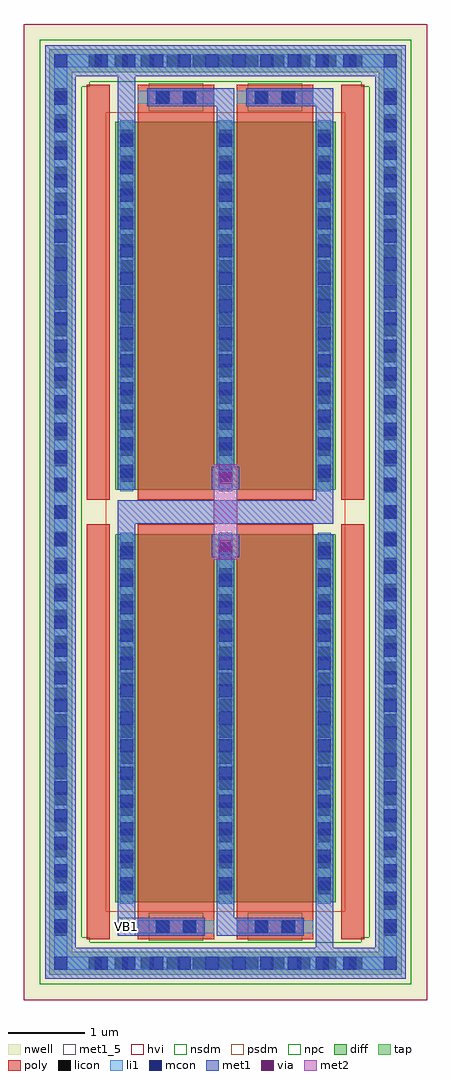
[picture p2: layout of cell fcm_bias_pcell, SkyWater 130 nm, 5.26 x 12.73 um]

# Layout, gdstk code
from math import pi, radians
import gdstk
lib = gdstk.Library(unit=1e-6, precision=1e-09)
def R(c, l, rs):  # rectangles x0, y0, x1, y1
    for r in rs: c.add(gdstk.rectangle(r[:2], r[2:], *l))
def A(c, l, x, y, w, h, nx, ny, dx, dy):  # array of equal rectangles
    R(c, l, [(x+i*dx, y+j*dy, x+i*dx+w, y+j*dy+h) for i in range(nx) for j in range(ny)])
nwell = (64, 20)
diff = (65, 20)
tap = (65, 44)
poly = (66, 20)
licon = (66, 44)
li1 = (67, 20)
mcon = (67, 44)
met1_5 = (68, 5)
met1 = (68, 20)
via = (68, 44)
met2 = (69, 20)
hvi = (75, 20)
nsdm = (93, 44)
psdm = (94, 20)
npc = (95, 20)

sky130_fd_pr__pfet_g5v0d = lib.new_cell('sky130_fd_pr__pfet_g5v0d10v5_XEEY48')
R(sky130_fd_pr__pfet_g5v0d, nwell, [(-1.615,-2.89,1.615,2.72)])
R(sky130_fd_pr__pfet_g5v0d, diff, [(-1.435,-2.58,1.435,2.22)])
R(sky130_fd_pr__pfet_g5v0d, poly, [(-1.145,-2.71,-0.145,2.705), (0.145,-2.71,1.145,2.705)])
A(sky130_fd_pr__pfet_g5v0d, licon, -1.375, -2.475, 0.17, 0.17, 3, 14, 1.29, 0.34)
R(sky130_fd_pr__pfet_g5v0d, licon, [(-0.9,2.455,-0.73,2.625), (-0.56,2.455,-0.39,2.625), (0.39,2.455,0.56,2.625), (0.73,2.455,0.9,2.625)])
A(sky130_fd_pr__pfet_g5v0d, li1, -1.375, -2.6, 0.17, 4.84, 3, 1, 1.29, 0)
R(sky130_fd_pr__pfet_g5v0d, li1, [(-1.145,2.455,-0.145,2.625), (0.145,2.455,1.145,2.625)])
A(sky130_fd_pr__pfet_g5v0d, mcon, -1.375, -2.425, 0.17, 0.17, 3, 13, 1.29, 0.36)
R(sky130_fd_pr__pfet_g5v0d, mcon, [(-0.91,2.455,-0.74,2.625), (-0.55,2.455,-0.38,2.625), (0.38,2.455,0.55,2.625), (0.74,2.455,0.91,2.625)])
A(sky130_fd_pr__pfet_g5v0d, met1, -1.405, -2.58, 0.23, 4.8, 3, 1, 1.29, 0)
R(sky130_fd_pr__pfet_g5v0d, met1, [(-1.02,2.425,-0.27,2.655), (0.27,2.425,1.02,2.655)])
R(sky130_fd_pr__pfet_g5v0d, hvi, [(-1.615,-2.89,1.615,-2.765), (-1.62,-2.765,1.62,2.405), (-1.615,2.405,1.615,2.72)])
R(sky130_fd_pr__pfet_g5v0d, psdm, [(-1.56,-2.705,1.56,2.345)])
R(sky130_fd_pr__pfet_g5v0d, npc, [(-1,2.355,-0.29,2.725), (0.29,2.355,1,2.725)])

fcm_bias_pcell_2 = lib.new_cell('fcm_bias_pcell_2')
R(fcm_bias_pcell_2, tap, [(-0.94,-0.145,-0.64,5.74), (3.36,-0.145,3.66,5.74), (-0.94,5.74,3.66,6.04)])
R(fcm_bias_pcell_2, poly, [(-0.45,0.165,-0.15,5.58), (2.87,0.165,3.17,5.58)])
R(fcm_bias_pcell_2, li1, [(-0.875,-0.145,-0.705,5.805), (3.425,-0.145,3.595,5.805), (-0.875,5.805,3.595,5.975)])
R(fcm_bias_pcell_2, met1, [(-0.99,-0.145,-0.59,5.69), (-0.045,-0.145,2.765,0.155), (3.31,-0.145,3.71,5.69), (2.535,0.155,2.765,0.295), (-0.045,4.755,0.185,5.69), (1.245,5.095,1.475,5.3), (2.535,5.095,2.765,5.3), (1.09,5.3,1.475,5.53), (2.38,5.3,2.765,5.53), (-0.99,5.69,3.71,6.09)])
R(fcm_bias_pcell_2, hvi, [(-1.21,-0.595,-0.37,-0.015), (3.09,-0.595,3.93,-0.015), (-1.21,-0.015,-0.255,0.11), (2.975,-0.015,3.93,0.11), (-1.21,0.11,-0.26,5.28), (2.98,0.11,3.93,5.28), (-1.21,5.28,-0.255,5.555), (2.975,5.28,3.93,5.555), (-1.125,5.555,3.845,6.225)])
R(fcm_bias_pcell_2, nsdm, [(-1.065,-0.27,-0.515,5.615), (3.235,-0.27,3.785,5.615), (-1.065,5.615,3.785,6.165)])
fcm_bias_pcell_2.add(gdstk.Reference(sky130_fd_pr__pfet_g5v0d, (1.36,2.875)))

fcm_bias_pcell = lib.new_cell('fcm_bias_pcell')
R(fcm_bias_pcell, nwell, [(0.775,-5.775,6.035,6.955)])
R(fcm_bias_pcell, tap, [(1.47,-5.38,5.34,-5.21), (1.17,-5.08,1.34,6.26), (5.47,-5.08,5.64,6.26), (1.47,6.39,5.34,6.56)])
A(fcm_bias_pcell, licon, 1.62, -5.38, 0.17, 0.17, 11, 2, 0.34, 11.77)
A(fcm_bias_pcell, licon, 1.17, -4.935, 0.17, 0.17, 1, 33, 0, 0.34)
A(fcm_bias_pcell, licon, 5.47, -4.935, 0.17, 0.17, 1, 33, 0, 0.34)
R(fcm_bias_pcell, li1, [(1.17,-5.38,5.64,-5.21), (1.17,-5.21,1.34,6.39), (5.47,-5.21,5.64,6.39), (1.17,6.39,5.64,6.56)])
A(fcm_bias_pcell, mcon, 1.7, -5.38, 0.17, 0.17, 10, 2, 0.36, 11.77)
A(fcm_bias_pcell, mcon, 1.17, -4.895, 0.17, 0.17, 1, 31, 0, 0.36)
A(fcm_bias_pcell, mcon, 5.47, -4.895, 0.17, 0.17, 1, 31, 0, 0.36)
R(fcm_bias_pcell, mcon, [(1.17,-5.38,1.34,-5.21), (5.47,-5.38,5.64,-5.21), (1.17,6.39,1.34,6.56), (5.47,6.39,5.64,6.56)])
R(fcm_bias_pcell, met1_5, [(2,-4.935,2.23,-4.705)])
R(fcm_bias_pcell, met1, [(1.17,-5.38,5.64,-5.21), (1.17,-5.21,1.34,6.39), (5.47,-5.21,5.64,6.39), (3.225,0,3.585,0.3), (3.225,0.88,3.585,1.18), (1.17,6.39,5.64,6.56)])
R(fcm_bias_pcell, via, [(3.33,0.075,3.48,0.225), (3.33,0.955,3.48,1.105)])
R(fcm_bias_pcell, met2, [(3.255,-0.03,3.555,1.21)])
R(fcm_bias_pcell, hvi, [(0.775,-5.775,6.035,6.955)])
R(fcm_bias_pcell, nsdm, [(1.345,-5.505,5.465,-5.335), (1.175,-5.335,5.635,-5.205), (1.045,-5.205,5.765,-5.085), (1.045,-5.085,1.635,-4.955), (5.175,-5.085,5.765,-4.955), (1.045,-4.955,1.465,6.135), (5.345,-4.955,5.765,6.135), (1.045,6.135,1.635,6.265), (5.175,6.135,5.765,6.265), (1.045,6.265,5.765,6.385), (1.175,6.385,5.635,6.515), (1.345,6.515,5.465,6.685)])
R(fcm_bias_pcell, psdm, [(1.845,0.425,4.965,0.755)])
fcm_bias_pcell.add(gdstk.Reference(fcm_bias_pcell_2, (4.765,0.595), rotation=pi))
fcm_bias_pcell.add(gdstk.Reference(fcm_bias_pcell_2, (2.045,0.585)))
fcm_bias_pcell.add(gdstk.Label('VB1', (2.115,-4.82), layer=68, texttype=5))

lib.write_gds('fcm_bias_pcell.gds')
